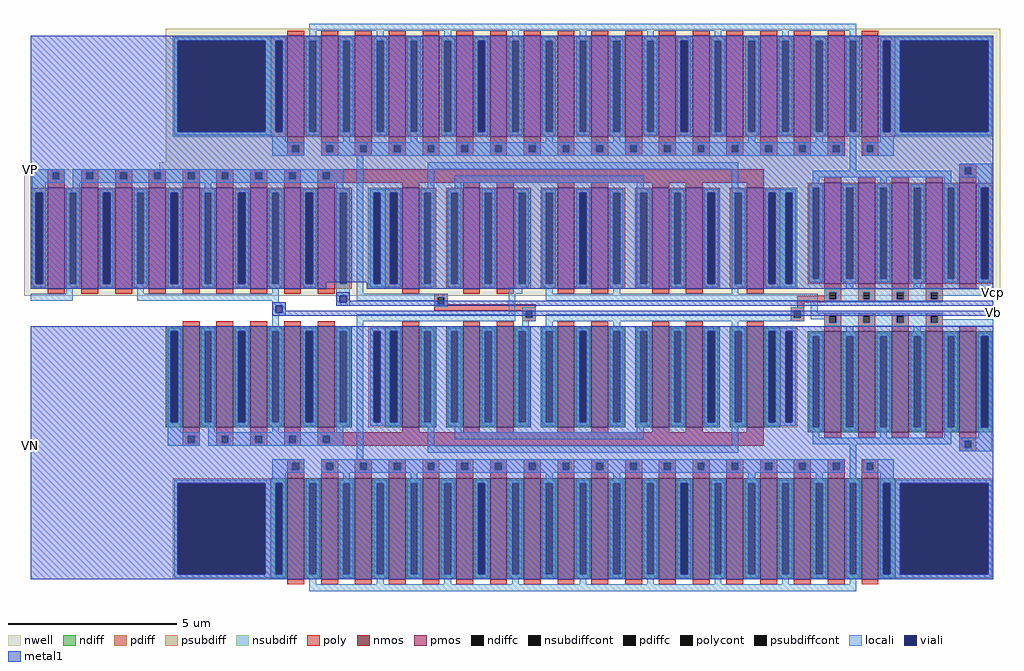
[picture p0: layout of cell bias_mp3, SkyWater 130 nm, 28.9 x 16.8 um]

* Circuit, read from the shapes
.subckt bias_mp3 Vb Vcn Vcp Vbp VP VN
XM1 Vb VN VN VN sky130_fd_pr__nfet_01v8 w=3 l=0.5
XM2 VN Vb Vb VN sky130_fd_pr__nfet_01v8 w=3 l=0.5 m=4
XM3 n1 VN VN VN sky130_fd_pr__nfet_01v8 w=3 l=0.5 m=3
XM4 n2 n2 n1 VN sky130_fd_pr__nfet_01v8 w=3 l=0.5 m=12
XM5 Vcp Vb VN VN sky130_fd_pr__nfet_01v8 w=3 l=0.5 m=4
XM6 VN n2 n1 VN sky130_fd_pr__nfet_01v8 w=3 l=0.5 m=4
XM7 n3 Vb n4 VN sky130_fd_pr__nfet_01v8 w=3 l=0.5
XM8 n5 Vb n3 VN sky130_fd_pr__nfet_01v8 w=3 l=0.5
XM9 n6 Vb n4 VN sky130_fd_pr__nfet_01v8 w=3 l=0.5
XM10 VN Vb n6 VN sky130_fd_pr__nfet_01v8 w=3 l=0.5
XM11 Vcn Vcn n1 VN sky130_fd_pr__nfet_01v8 w=3 l=0.5 m=4
XM12 Vbp VP VP VP sky130_fd_pr__pfet_01v8 w=3 l=0.5
XM13 VP Vbp Vbp VP sky130_fd_pr__pfet_01v8 w=3 l=0.5 m=4
XM14 Vb Vbp VP VP sky130_fd_pr__pfet_01v8 w=3 l=0.5 m=4
XM15 n7 VP VP VP sky130_fd_pr__pfet_01v8 w=3 l=0.5 m=3
XM16 n5 n5 n7 VP sky130_fd_pr__pfet_01v8 w=3 l=0.5 m=12
XM17 Vcn Vbp VP VP sky130_fd_pr__pfet_01v8 w=3 l=0.5 m=4
XM18 VP n5 n7 VP sky130_fd_pr__pfet_01v8 w=3 l=0.5 m=4
XM19 n8 Vbp n9 VP sky130_fd_pr__pfet_01v8 w=3 l=0.5
XM20 n2 Vbp n8 VP sky130_fd_pr__pfet_01v8 w=3 l=0.5
XM21 n10 Vbp n9 VP sky130_fd_pr__pfet_01v8 w=3 l=0.5
XM22 VP Vbp n10 VP sky130_fd_pr__pfet_01v8 w=3 l=0.5
XM23 Vcp Vcp n7 VP sky130_fd_pr__pfet_01v8 w=3 l=0.5 m=4
.ends

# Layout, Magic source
magic
tech sky130A
<< nwell >>
rect -360 1195 2110 1590
rect -380 1175 2110 1195
rect -780 800 2110 1175
<< nmos >>
rect -310 410 -260 710
rect -210 410 -160 710
rect -110 410 -60 710
rect -10 410 40 710
rect 90 410 140 710
rect 340 410 390 710
rect 520 410 570 710
rect 620 410 670 710
rect 800 410 850 710
rect 900 410 950 710
rect 1080 410 1130 710
rect 1180 410 1230 710
rect 1360 410 1410 710
rect 1590 395 1640 695
rect 1690 395 1740 695
rect 1790 395 1840 695
rect 1890 395 1940 695
rect 1990 395 2040 695
rect 0 -40 50 260
rect 100 -40 150 260
rect 200 -40 250 260
rect 300 -40 350 260
rect 400 -40 450 260
rect 500 -40 550 260
rect 600 -40 650 260
rect 700 -40 750 260
rect 800 -40 850 260
rect 900 -40 950 260
rect 1000 -40 1050 260
rect 1100 -40 1150 260
rect 1200 -40 1250 260
rect 1300 -40 1350 260
rect 1400 -40 1450 260
rect 1500 -40 1550 260
rect 1600 -40 1650 260
rect 1700 -40 1750 260
<< pmos >>
rect 0 1270 50 1570
rect 100 1270 150 1570
rect 200 1270 250 1570
rect 300 1270 350 1570
rect 400 1270 450 1570
rect 500 1270 550 1570
rect 600 1270 650 1570
rect 700 1270 750 1570
rect 800 1270 850 1570
rect 900 1270 950 1570
rect 1000 1270 1050 1570
rect 1100 1270 1150 1570
rect 1200 1270 1250 1570
rect 1300 1270 1350 1570
rect 1400 1270 1450 1570
rect 1500 1270 1550 1570
rect 1600 1270 1650 1570
rect 1700 1270 1750 1570
rect -710 820 -660 1120
rect -610 820 -560 1120
rect -510 820 -460 1120
rect -410 820 -360 1120
rect -310 820 -260 1120
rect -210 820 -160 1120
rect -110 820 -60 1120
rect -10 820 40 1120
rect 90 820 140 1120
rect 340 820 390 1120
rect 520 820 570 1120
rect 620 820 670 1120
rect 800 820 850 1120
rect 900 820 950 1120
rect 1080 820 1130 1120
rect 1180 820 1230 1120
rect 1360 820 1410 1120
rect 1590 835 1640 1135
rect 1690 835 1740 1135
rect 1790 835 1840 1135
rect 1890 835 1940 1135
rect 1990 835 2040 1135
<< ndiff >>
rect -360 695 -310 710
rect -360 425 -345 695
rect -325 425 -310 695
rect -360 410 -310 425
rect -260 695 -210 710
rect -260 425 -245 695
rect -225 425 -210 695
rect -260 410 -210 425
rect -160 695 -110 710
rect -160 425 -145 695
rect -125 425 -110 695
rect -160 410 -110 425
rect -60 695 -10 710
rect -60 425 -45 695
rect -25 425 -10 695
rect -60 410 -10 425
rect 40 695 90 710
rect 40 425 55 695
rect 75 425 90 695
rect 40 410 90 425
rect 140 695 190 710
rect 140 425 155 695
rect 175 425 190 695
rect 140 410 190 425
rect 290 695 340 710
rect 290 425 305 695
rect 325 425 340 695
rect 290 410 340 425
rect 390 695 440 710
rect 390 425 405 695
rect 425 425 440 695
rect 390 410 440 425
rect 470 695 520 710
rect 470 425 485 695
rect 505 425 520 695
rect 470 410 520 425
rect 570 695 620 710
rect 570 425 585 695
rect 605 425 620 695
rect 570 410 620 425
rect 670 695 720 710
rect 670 425 685 695
rect 705 425 720 695
rect 670 410 720 425
rect 750 695 800 710
rect 750 425 765 695
rect 785 425 800 695
rect 750 410 800 425
rect 850 695 900 710
rect 850 425 865 695
rect 885 425 900 695
rect 850 410 900 425
rect 950 695 1000 710
rect 950 425 965 695
rect 985 425 1000 695
rect 950 410 1000 425
rect 1030 695 1080 710
rect 1030 425 1045 695
rect 1065 425 1080 695
rect 1030 410 1080 425
rect 1130 695 1180 710
rect 1130 425 1145 695
rect 1165 425 1180 695
rect 1130 410 1180 425
rect 1230 695 1280 710
rect 1230 425 1245 695
rect 1265 425 1280 695
rect 1230 410 1280 425
rect 1310 695 1360 710
rect 1310 425 1325 695
rect 1345 425 1360 695
rect 1310 410 1360 425
rect 1410 695 1460 710
rect 1410 425 1425 695
rect 1445 425 1460 695
rect 1410 410 1460 425
rect 1540 680 1590 695
rect 1540 410 1555 680
rect 1575 410 1590 680
rect 1540 395 1590 410
rect 1640 680 1690 695
rect 1640 410 1655 680
rect 1675 410 1690 680
rect 1640 395 1690 410
rect 1740 680 1790 695
rect 1740 410 1755 680
rect 1775 410 1790 680
rect 1740 395 1790 410
rect 1840 680 1890 695
rect 1840 410 1855 680
rect 1875 410 1890 680
rect 1840 395 1890 410
rect 1940 680 1990 695
rect 1940 410 1955 680
rect 1975 410 1990 680
rect 1940 395 1990 410
rect 2040 680 2090 695
rect 2040 410 2055 680
rect 2075 410 2090 680
rect 2040 395 2090 410
rect -50 245 0 260
rect -50 -25 -35 245
rect -15 -25 0 245
rect -50 -40 0 -25
rect 50 245 100 260
rect 50 -25 65 245
rect 85 -25 100 245
rect 50 -40 100 -25
rect 150 245 200 260
rect 150 -25 165 245
rect 185 -25 200 245
rect 150 -40 200 -25
rect 250 245 300 260
rect 250 -25 265 245
rect 285 -25 300 245
rect 250 -40 300 -25
rect 350 245 400 260
rect 350 -25 365 245
rect 385 -25 400 245
rect 350 -40 400 -25
rect 450 245 500 260
rect 450 -25 465 245
rect 485 -25 500 245
rect 450 -40 500 -25
rect 550 245 600 260
rect 550 -25 565 245
rect 585 -25 600 245
rect 550 -40 600 -25
rect 650 245 700 260
rect 650 -25 665 245
rect 685 -25 700 245
rect 650 -40 700 -25
rect 750 245 800 260
rect 750 -25 765 245
rect 785 -25 800 245
rect 750 -40 800 -25
rect 850 245 900 260
rect 850 -25 865 245
rect 885 -25 900 245
rect 850 -40 900 -25
rect 950 245 1000 260
rect 950 -25 965 245
rect 985 -25 1000 245
rect 950 -40 1000 -25
rect 1050 245 1100 260
rect 1050 -25 1065 245
rect 1085 -25 1100 245
rect 1050 -40 1100 -25
rect 1150 245 1200 260
rect 1150 -25 1165 245
rect 1185 -25 1200 245
rect 1150 -40 1200 -25
rect 1250 245 1300 260
rect 1250 -25 1265 245
rect 1285 -25 1300 245
rect 1250 -40 1300 -25
rect 1350 245 1400 260
rect 1350 -25 1365 245
rect 1385 -25 1400 245
rect 1350 -40 1400 -25
rect 1450 245 1500 260
rect 1450 -25 1465 245
rect 1485 -25 1500 245
rect 1450 -40 1500 -25
rect 1550 245 1600 260
rect 1550 -25 1565 245
rect 1585 -25 1600 245
rect 1550 -40 1600 -25
rect 1650 245 1700 260
rect 1650 -25 1665 245
rect 1685 -25 1700 245
rect 1650 -40 1700 -25
rect 1750 245 1800 260
rect 1750 -25 1765 245
rect 1785 -25 1800 245
rect 1750 -40 1800 -25
<< pdiff >>
rect -50 1555 0 1570
rect -50 1285 -35 1555
rect -15 1285 0 1555
rect -50 1270 0 1285
rect 50 1555 100 1570
rect 50 1285 65 1555
rect 85 1285 100 1555
rect 50 1270 100 1285
rect 150 1555 200 1570
rect 150 1285 165 1555
rect 185 1285 200 1555
rect 150 1270 200 1285
rect 250 1555 300 1570
rect 250 1285 265 1555
rect 285 1285 300 1555
rect 250 1270 300 1285
rect 350 1555 400 1570
rect 350 1285 365 1555
rect 385 1285 400 1555
rect 350 1270 400 1285
rect 450 1555 500 1570
rect 450 1285 465 1555
rect 485 1285 500 1555
rect 450 1270 500 1285
rect 550 1555 600 1570
rect 550 1285 565 1555
rect 585 1285 600 1555
rect 550 1270 600 1285
rect 650 1555 700 1570
rect 650 1285 665 1555
rect 685 1285 700 1555
rect 650 1270 700 1285
rect 750 1555 800 1570
rect 750 1285 765 1555
rect 785 1285 800 1555
rect 750 1270 800 1285
rect 850 1555 900 1570
rect 850 1285 865 1555
rect 885 1285 900 1555
rect 850 1270 900 1285
rect 950 1555 1000 1570
rect 950 1285 965 1555
rect 985 1285 1000 1555
rect 950 1270 1000 1285
rect 1050 1555 1100 1570
rect 1050 1285 1065 1555
rect 1085 1285 1100 1555
rect 1050 1270 1100 1285
rect 1150 1555 1200 1570
rect 1150 1285 1165 1555
rect 1185 1285 1200 1555
rect 1150 1270 1200 1285
rect 1250 1555 1300 1570
rect 1250 1285 1265 1555
rect 1285 1285 1300 1555
rect 1250 1270 1300 1285
rect 1350 1555 1400 1570
rect 1350 1285 1365 1555
rect 1385 1285 1400 1555
rect 1350 1270 1400 1285
rect 1450 1555 1500 1570
rect 1450 1285 1465 1555
rect 1485 1285 1500 1555
rect 1450 1270 1500 1285
rect 1550 1555 1600 1570
rect 1550 1285 1565 1555
rect 1585 1285 1600 1555
rect 1550 1270 1600 1285
rect 1650 1555 1700 1570
rect 1650 1285 1665 1555
rect 1685 1285 1700 1555
rect 1650 1270 1700 1285
rect 1750 1555 1800 1570
rect 1750 1285 1765 1555
rect 1785 1285 1800 1555
rect 1750 1270 1800 1285
rect 1540 1120 1590 1135
rect -760 1105 -710 1120
rect -760 835 -745 1105
rect -725 835 -710 1105
rect -760 820 -710 835
rect -660 1105 -610 1120
rect -660 835 -645 1105
rect -625 835 -610 1105
rect -660 820 -610 835
rect -560 1105 -510 1120
rect -560 835 -545 1105
rect -525 835 -510 1105
rect -560 820 -510 835
rect -460 1105 -410 1120
rect -460 835 -445 1105
rect -425 835 -410 1105
rect -460 820 -410 835
rect -360 1105 -310 1120
rect -360 835 -345 1105
rect -325 835 -310 1105
rect -360 820 -310 835
rect -260 1105 -210 1120
rect -260 835 -245 1105
rect -225 835 -210 1105
rect -260 820 -210 835
rect -160 1105 -110 1120
rect -160 835 -145 1105
rect -125 835 -110 1105
rect -160 820 -110 835
rect -60 1105 -10 1120
rect -60 835 -45 1105
rect -25 835 -10 1105
rect -60 820 -10 835
rect 40 1105 90 1120
rect 40 835 55 1105
rect 75 835 90 1105
rect 40 820 90 835
rect 140 1105 190 1120
rect 140 835 155 1105
rect 175 835 190 1105
rect 140 820 190 835
rect 290 1105 340 1120
rect 290 835 305 1105
rect 325 835 340 1105
rect 290 820 340 835
rect 390 1105 440 1120
rect 390 835 405 1105
rect 425 835 440 1105
rect 390 820 440 835
rect 470 1105 520 1120
rect 470 835 485 1105
rect 505 835 520 1105
rect 470 820 520 835
rect 570 1105 620 1120
rect 570 835 585 1105
rect 605 835 620 1105
rect 570 820 620 835
rect 670 1105 720 1120
rect 670 835 685 1105
rect 705 835 720 1105
rect 670 820 720 835
rect 750 1105 800 1120
rect 750 835 765 1105
rect 785 835 800 1105
rect 750 820 800 835
rect 850 1105 900 1120
rect 850 835 865 1105
rect 885 835 900 1105
rect 850 820 900 835
rect 950 1105 1000 1120
rect 950 835 965 1105
rect 985 835 1000 1105
rect 950 820 1000 835
rect 1030 1105 1080 1120
rect 1030 835 1045 1105
rect 1065 835 1080 1105
rect 1030 820 1080 835
rect 1130 1105 1180 1120
rect 1130 835 1145 1105
rect 1165 835 1180 1105
rect 1130 820 1180 835
rect 1230 1105 1280 1120
rect 1230 835 1245 1105
rect 1265 835 1280 1105
rect 1230 820 1280 835
rect 1310 1105 1360 1120
rect 1310 835 1325 1105
rect 1345 835 1360 1105
rect 1310 820 1360 835
rect 1410 1105 1460 1120
rect 1410 835 1425 1105
rect 1445 835 1460 1105
rect 1540 850 1555 1120
rect 1575 850 1590 1120
rect 1540 835 1590 850
rect 1640 1120 1690 1135
rect 1640 850 1655 1120
rect 1675 850 1690 1120
rect 1640 835 1690 850
rect 1740 1120 1790 1135
rect 1740 850 1755 1120
rect 1775 850 1790 1120
rect 1740 835 1790 850
rect 1840 1120 1890 1135
rect 1840 850 1855 1120
rect 1875 850 1890 1120
rect 1840 835 1890 850
rect 1940 1120 1990 1135
rect 1940 850 1955 1120
rect 1975 850 1990 1120
rect 1940 835 1990 850
rect 2040 1120 2090 1135
rect 2040 850 2055 1120
rect 2075 850 2090 1120
rect 2040 835 2090 850
rect 1410 820 1460 835
<< ndiffc >>
rect -345 425 -325 695
rect -245 425 -225 695
rect -145 425 -125 695
rect -45 425 -25 695
rect 55 425 75 695
rect 155 425 175 695
rect 305 425 325 695
rect 405 425 425 695
rect 485 425 505 695
rect 585 425 605 695
rect 685 425 705 695
rect 765 425 785 695
rect 865 425 885 695
rect 965 425 985 695
rect 1045 425 1065 695
rect 1145 425 1165 695
rect 1245 425 1265 695
rect 1325 425 1345 695
rect 1425 425 1445 695
rect 1555 410 1575 680
rect 1655 410 1675 680
rect 1755 410 1775 680
rect 1855 410 1875 680
rect 1955 410 1975 680
rect 2055 410 2075 680
rect -35 -25 -15 245
rect 65 -25 85 245
rect 165 -25 185 245
rect 265 -25 285 245
rect 365 -25 385 245
rect 465 -25 485 245
rect 565 -25 585 245
rect 665 -25 685 245
rect 765 -25 785 245
rect 865 -25 885 245
rect 965 -25 985 245
rect 1065 -25 1085 245
rect 1165 -25 1185 245
rect 1265 -25 1285 245
rect 1365 -25 1385 245
rect 1465 -25 1485 245
rect 1565 -25 1585 245
rect 1665 -25 1685 245
rect 1765 -25 1785 245
<< pdiffc >>
rect -35 1285 -15 1555
rect 65 1285 85 1555
rect 165 1285 185 1555
rect 265 1285 285 1555
rect 365 1285 385 1555
rect 465 1285 485 1555
rect 565 1285 585 1555
rect 665 1285 685 1555
rect 765 1285 785 1555
rect 865 1285 885 1555
rect 965 1285 985 1555
rect 1065 1285 1085 1555
rect 1165 1285 1185 1555
rect 1265 1285 1285 1555
rect 1365 1285 1385 1555
rect 1465 1285 1485 1555
rect 1565 1285 1585 1555
rect 1665 1285 1685 1555
rect 1765 1285 1785 1555
rect -745 835 -725 1105
rect -645 835 -625 1105
rect -545 835 -525 1105
rect -445 835 -425 1105
rect -345 835 -325 1105
rect -245 835 -225 1105
rect -145 835 -125 1105
rect -45 835 -25 1105
rect 55 835 75 1105
rect 155 835 175 1105
rect 305 835 325 1105
rect 405 835 425 1105
rect 485 835 505 1105
rect 585 835 605 1105
rect 685 835 705 1105
rect 765 835 785 1105
rect 865 835 885 1105
rect 965 835 985 1105
rect 1045 835 1065 1105
rect 1145 835 1165 1105
rect 1245 835 1265 1105
rect 1325 835 1345 1105
rect 1425 835 1445 1105
rect 1555 850 1575 1120
rect 1655 850 1675 1120
rect 1755 850 1775 1120
rect 1855 850 1875 1120
rect 1955 850 1975 1120
rect 2055 850 2075 1120
<< psubdiff >>
rect 240 695 290 710
rect 240 425 255 695
rect 275 425 290 695
rect 240 410 290 425
rect 1460 695 1510 710
rect 1460 425 1475 695
rect 1495 425 1510 695
rect 1460 410 1510 425
rect -340 245 -50 260
rect -340 -25 -325 245
rect -65 -25 -50 245
rect -340 -40 -50 -25
rect 1800 245 2090 260
rect 1800 -25 1815 245
rect 2075 -25 2090 245
rect 1800 -40 2090 -25
<< nsubdiff >>
rect -340 1555 -50 1570
rect -340 1285 -325 1555
rect -65 1285 -50 1555
rect -340 1270 -50 1285
rect 1800 1555 2090 1570
rect 1800 1285 1815 1555
rect 2075 1285 2090 1555
rect 1800 1270 2090 1285
rect 240 1105 290 1120
rect 240 835 255 1105
rect 275 835 290 1105
rect 240 820 290 835
rect 1460 1105 1510 1120
rect 1460 835 1475 1105
rect 1495 835 1510 1105
rect 1460 820 1510 835
<< psubdiffcont >>
rect 255 425 275 695
rect 1475 425 1495 695
rect -325 -25 -65 245
rect 1815 -25 2075 245
<< nsubdiffcont >>
rect -325 1285 -65 1555
rect 1815 1285 2075 1555
rect 255 835 275 1105
rect 1475 835 1495 1105
<< poly >>
rect 0 1570 50 1585
rect 100 1570 150 1585
rect 200 1570 250 1585
rect 300 1570 350 1585
rect 400 1570 450 1585
rect 500 1570 550 1585
rect 600 1570 650 1585
rect 700 1570 750 1585
rect 800 1570 850 1585
rect 900 1570 950 1585
rect 1000 1570 1050 1585
rect 1100 1570 1150 1585
rect 1200 1570 1250 1585
rect 1300 1570 1350 1585
rect 1400 1570 1450 1585
rect 1500 1570 1550 1585
rect 1600 1570 1650 1585
rect 1700 1570 1750 1585
rect 0 1245 50 1270
rect 0 1225 15 1245
rect 35 1225 50 1245
rect 0 1215 50 1225
rect 100 1245 150 1270
rect 100 1225 115 1245
rect 135 1225 150 1245
rect 100 1215 150 1225
rect 200 1245 250 1270
rect 200 1225 215 1245
rect 235 1225 250 1245
rect 200 1215 250 1225
rect 300 1245 350 1270
rect 300 1225 315 1245
rect 335 1225 350 1245
rect 300 1215 350 1225
rect 400 1245 450 1270
rect 400 1225 415 1245
rect 435 1225 450 1245
rect 400 1215 450 1225
rect 500 1245 550 1270
rect 500 1225 515 1245
rect 535 1225 550 1245
rect 500 1215 550 1225
rect 600 1245 650 1270
rect 600 1225 615 1245
rect 635 1225 650 1245
rect 600 1215 650 1225
rect 700 1245 750 1270
rect 700 1225 715 1245
rect 735 1225 750 1245
rect 700 1215 750 1225
rect 800 1245 850 1270
rect 800 1225 815 1245
rect 835 1225 850 1245
rect 800 1215 850 1225
rect 900 1245 950 1270
rect 900 1225 915 1245
rect 935 1225 950 1245
rect 900 1215 950 1225
rect 1000 1245 1050 1270
rect 1000 1225 1015 1245
rect 1035 1225 1050 1245
rect 1000 1215 1050 1225
rect 1100 1245 1150 1270
rect 1100 1225 1115 1245
rect 1135 1225 1150 1245
rect 1100 1215 1150 1225
rect 1200 1245 1250 1270
rect 1200 1225 1215 1245
rect 1235 1225 1250 1245
rect 1200 1215 1250 1225
rect 1300 1245 1350 1270
rect 1300 1225 1315 1245
rect 1335 1225 1350 1245
rect 1300 1215 1350 1225
rect 1400 1245 1450 1270
rect 1400 1225 1415 1245
rect 1435 1225 1450 1245
rect 1400 1215 1450 1225
rect 1500 1245 1550 1270
rect 1500 1225 1515 1245
rect 1535 1225 1550 1245
rect 1500 1215 1550 1225
rect 1600 1245 1650 1270
rect 1600 1225 1615 1245
rect 1635 1225 1650 1245
rect 1600 1215 1650 1225
rect 1700 1245 1750 1270
rect 1700 1225 1715 1245
rect 1735 1225 1750 1245
rect 1700 1215 1750 1225
rect 1990 1180 2040 1190
rect -710 1165 -660 1175
rect -710 1145 -695 1165
rect -675 1145 -660 1165
rect -710 1120 -660 1145
rect -610 1165 -560 1175
rect -610 1145 -595 1165
rect -575 1145 -560 1165
rect -610 1120 -560 1145
rect -510 1165 -460 1175
rect -510 1145 -495 1165
rect -475 1145 -460 1165
rect -510 1120 -460 1145
rect -410 1165 -360 1175
rect -410 1145 -395 1165
rect -375 1145 -360 1165
rect -410 1120 -360 1145
rect -310 1165 -260 1175
rect -310 1145 -295 1165
rect -275 1145 -260 1165
rect -310 1120 -260 1145
rect -210 1165 -160 1175
rect -210 1145 -195 1165
rect -175 1145 -160 1165
rect -210 1120 -160 1145
rect -110 1165 -60 1175
rect -110 1145 -95 1165
rect -75 1145 -60 1165
rect -110 1120 -60 1145
rect -10 1165 40 1175
rect -10 1145 5 1165
rect 25 1145 40 1165
rect -10 1120 40 1145
rect 90 1165 1410 1175
rect 90 1145 105 1165
rect 125 1145 1410 1165
rect 1990 1160 2005 1180
rect 2025 1160 2040 1180
rect 90 1135 1410 1145
rect 1590 1135 1640 1150
rect 1690 1135 1740 1150
rect 1790 1135 1840 1150
rect 1890 1135 1940 1150
rect 1990 1135 2040 1160
rect 90 1120 140 1135
rect 340 1120 390 1135
rect 520 1120 570 1135
rect 620 1120 670 1135
rect 800 1120 850 1135
rect 900 1120 950 1135
rect 1080 1120 1130 1135
rect 1180 1120 1230 1135
rect 1360 1120 1410 1135
rect -710 805 -660 820
rect -610 805 -560 820
rect -510 805 -460 820
rect -410 805 -360 820
rect -310 805 -260 820
rect -210 805 -160 820
rect -110 805 -60 820
rect -10 805 40 820
rect 90 805 140 820
rect 340 805 390 820
rect 520 805 570 820
rect 620 805 670 820
rect 800 805 850 820
rect 900 805 950 820
rect 1080 805 1130 820
rect 1180 805 1230 820
rect 1360 805 1410 820
rect 1590 810 1640 835
rect 435 795 475 805
rect 1590 800 1605 810
rect 435 775 445 795
rect 465 775 475 795
rect 1510 790 1605 800
rect 1625 790 1640 810
rect 1510 780 1640 790
rect 1690 810 1740 835
rect 1690 790 1705 810
rect 1725 790 1740 810
rect 1690 780 1740 790
rect 1790 810 1840 835
rect 1790 790 1805 810
rect 1825 790 1840 810
rect 1790 780 1840 790
rect 1890 810 1940 835
rect 1990 820 2040 835
rect 1890 790 1905 810
rect 1925 790 1940 810
rect 1890 780 1940 790
rect 435 755 735 775
rect 1510 765 1530 780
rect 695 735 705 755
rect 725 735 735 755
rect 695 725 735 735
rect 1490 755 1530 765
rect 1490 735 1500 755
rect 1520 735 1530 755
rect 1490 725 1530 735
rect 1590 740 1640 750
rect -310 710 -260 725
rect -210 710 -160 725
rect -110 710 -60 725
rect -10 710 40 725
rect 90 710 140 725
rect 340 710 390 725
rect 520 710 570 725
rect 620 710 670 725
rect 800 710 850 725
rect 900 710 950 725
rect 1080 710 1130 725
rect 1180 710 1230 725
rect 1360 710 1410 725
rect 1590 720 1605 740
rect 1625 720 1640 740
rect 1590 695 1640 720
rect 1690 740 1740 750
rect 1690 720 1705 740
rect 1725 720 1740 740
rect 1690 695 1740 720
rect 1790 740 1840 750
rect 1790 720 1805 740
rect 1825 720 1840 740
rect 1790 695 1840 720
rect 1890 740 1940 750
rect 1890 720 1905 740
rect 1925 720 1940 740
rect 1890 695 1940 720
rect 1990 695 2040 710
rect -310 385 -260 410
rect -310 365 -295 385
rect -275 365 -260 385
rect -310 355 -260 365
rect -210 385 -160 410
rect -210 365 -195 385
rect -175 365 -160 385
rect -210 355 -160 365
rect -110 385 -60 410
rect -110 365 -95 385
rect -75 365 -60 385
rect -110 355 -60 365
rect -10 385 40 410
rect -10 365 5 385
rect 25 365 40 385
rect -10 355 40 365
rect 90 395 140 410
rect 340 395 390 410
rect 520 395 570 410
rect 620 395 670 410
rect 800 395 850 410
rect 900 395 950 410
rect 1080 395 1130 410
rect 1180 395 1230 410
rect 1360 395 1410 410
rect 90 385 1410 395
rect 90 365 105 385
rect 125 365 1410 385
rect 1590 380 1640 395
rect 1690 380 1740 395
rect 1790 380 1840 395
rect 1890 380 1940 395
rect 90 355 1410 365
rect 1990 370 2040 395
rect 1990 350 2005 370
rect 2025 350 2040 370
rect 1990 340 2040 350
rect 0 305 50 315
rect 0 285 15 305
rect 35 285 50 305
rect 0 260 50 285
rect 100 305 150 315
rect 100 285 115 305
rect 135 285 150 305
rect 100 260 150 285
rect 200 305 250 315
rect 200 285 215 305
rect 235 285 250 305
rect 200 260 250 285
rect 300 305 350 315
rect 300 285 315 305
rect 335 285 350 305
rect 300 260 350 285
rect 400 305 450 315
rect 400 285 415 305
rect 435 285 450 305
rect 400 260 450 285
rect 500 305 550 315
rect 500 285 515 305
rect 535 285 550 305
rect 500 260 550 285
rect 600 305 650 315
rect 600 285 615 305
rect 635 285 650 305
rect 600 260 650 285
rect 700 305 750 315
rect 700 285 715 305
rect 735 285 750 305
rect 700 260 750 285
rect 800 305 850 315
rect 800 285 815 305
rect 835 285 850 305
rect 800 260 850 285
rect 900 305 950 315
rect 900 285 915 305
rect 935 285 950 305
rect 900 260 950 285
rect 1000 305 1050 315
rect 1000 285 1015 305
rect 1035 285 1050 305
rect 1000 260 1050 285
rect 1100 305 1150 315
rect 1100 285 1115 305
rect 1135 285 1150 305
rect 1100 260 1150 285
rect 1200 305 1250 315
rect 1200 285 1215 305
rect 1235 285 1250 305
rect 1200 260 1250 285
rect 1300 305 1350 315
rect 1300 285 1315 305
rect 1335 285 1350 305
rect 1300 260 1350 285
rect 1400 305 1450 315
rect 1400 285 1415 305
rect 1435 285 1450 305
rect 1400 260 1450 285
rect 1500 305 1550 315
rect 1500 285 1515 305
rect 1535 285 1550 305
rect 1500 260 1550 285
rect 1600 305 1650 315
rect 1600 285 1615 305
rect 1635 285 1650 305
rect 1600 260 1650 285
rect 1700 305 1750 315
rect 1700 285 1715 305
rect 1735 285 1750 305
rect 1700 260 1750 285
rect 0 -55 50 -40
rect 100 -55 150 -40
rect 200 -55 250 -40
rect 300 -55 350 -40
rect 400 -55 450 -40
rect 500 -55 550 -40
rect 600 -55 650 -40
rect 700 -55 750 -40
rect 800 -55 850 -40
rect 900 -55 950 -40
rect 1000 -55 1050 -40
rect 1100 -55 1150 -40
rect 1200 -55 1250 -40
rect 1300 -55 1350 -40
rect 1400 -55 1450 -40
rect 1500 -55 1550 -40
rect 1600 -55 1650 -40
rect 1700 -55 1750 -40
<< polycont >>
rect 15 1225 35 1245
rect 115 1225 135 1245
rect 215 1225 235 1245
rect 315 1225 335 1245
rect 415 1225 435 1245
rect 515 1225 535 1245
rect 615 1225 635 1245
rect 715 1225 735 1245
rect 815 1225 835 1245
rect 915 1225 935 1245
rect 1015 1225 1035 1245
rect 1115 1225 1135 1245
rect 1215 1225 1235 1245
rect 1315 1225 1335 1245
rect 1415 1225 1435 1245
rect 1515 1225 1535 1245
rect 1615 1225 1635 1245
rect 1715 1225 1735 1245
rect -695 1145 -675 1165
rect -595 1145 -575 1165
rect -495 1145 -475 1165
rect -395 1145 -375 1165
rect -295 1145 -275 1165
rect -195 1145 -175 1165
rect -95 1145 -75 1165
rect 5 1145 25 1165
rect 105 1145 125 1165
rect 2005 1160 2025 1180
rect 445 775 465 795
rect 1605 790 1625 810
rect 1705 790 1725 810
rect 1805 790 1825 810
rect 1905 790 1925 810
rect 705 735 725 755
rect 1500 735 1520 755
rect 1605 720 1625 740
rect 1705 720 1725 740
rect 1805 720 1825 740
rect 1905 720 1925 740
rect -295 365 -275 385
rect -195 365 -175 385
rect -95 365 -75 385
rect 5 365 25 385
rect 105 365 125 385
rect 2005 350 2025 370
rect 15 285 35 305
rect 115 285 135 305
rect 215 285 235 305
rect 315 285 335 305
rect 415 285 435 305
rect 515 285 535 305
rect 615 285 635 305
rect 715 285 735 305
rect 815 285 835 305
rect 915 285 935 305
rect 1015 285 1035 305
rect 1115 285 1135 305
rect 1215 285 1235 305
rect 1315 285 1335 305
rect 1415 285 1435 305
rect 1515 285 1535 305
rect 1615 285 1635 305
rect 1715 285 1735 305
<< locali >>
rect 65 1585 1685 1605
rect 65 1565 85 1585
rect 265 1565 285 1585
rect 465 1565 485 1585
rect 665 1565 685 1585
rect 865 1565 885 1585
rect 1065 1565 1085 1585
rect 1265 1565 1285 1585
rect 1465 1565 1485 1585
rect 1665 1565 1685 1585
rect -335 1555 -5 1565
rect -335 1285 -325 1555
rect -65 1285 -35 1555
rect -15 1285 -5 1555
rect -335 1275 -5 1285
rect 55 1555 95 1565
rect 55 1285 65 1555
rect 85 1285 95 1555
rect 55 1275 95 1285
rect 155 1555 195 1565
rect 155 1285 165 1555
rect 185 1285 195 1555
rect 155 1275 195 1285
rect 255 1555 295 1565
rect 255 1285 265 1555
rect 285 1285 295 1555
rect 255 1275 295 1285
rect 355 1555 395 1565
rect 355 1285 365 1555
rect 385 1285 395 1555
rect 355 1275 395 1285
rect 455 1555 495 1565
rect 455 1285 465 1555
rect 485 1285 495 1555
rect 455 1275 495 1285
rect 555 1555 595 1565
rect 555 1285 565 1555
rect 585 1285 595 1555
rect 555 1275 595 1285
rect 655 1555 695 1565
rect 655 1285 665 1555
rect 685 1285 695 1555
rect 655 1275 695 1285
rect 755 1555 795 1565
rect 755 1285 765 1555
rect 785 1285 795 1555
rect 755 1275 795 1285
rect 855 1555 895 1565
rect 855 1285 865 1555
rect 885 1285 895 1555
rect 855 1275 895 1285
rect 955 1555 995 1565
rect 955 1285 965 1555
rect 985 1285 995 1555
rect 955 1275 995 1285
rect 1055 1555 1095 1565
rect 1055 1285 1065 1555
rect 1085 1285 1095 1555
rect 1055 1275 1095 1285
rect 1155 1555 1195 1565
rect 1155 1285 1165 1555
rect 1185 1285 1195 1555
rect 1155 1275 1195 1285
rect 1255 1555 1295 1565
rect 1255 1285 1265 1555
rect 1285 1285 1295 1555
rect 1255 1275 1295 1285
rect 1355 1555 1395 1565
rect 1355 1285 1365 1555
rect 1385 1285 1395 1555
rect 1355 1275 1395 1285
rect 1455 1555 1495 1565
rect 1455 1285 1465 1555
rect 1485 1285 1495 1555
rect 1455 1275 1495 1285
rect 1555 1555 1595 1565
rect 1555 1285 1565 1555
rect 1585 1285 1595 1555
rect 1555 1275 1595 1285
rect 1655 1555 1695 1565
rect 1655 1285 1665 1555
rect 1685 1285 1695 1555
rect 1655 1275 1695 1285
rect 1755 1555 2085 1565
rect 1755 1285 1765 1555
rect 1785 1285 1815 1555
rect 2075 1285 2085 1555
rect 1755 1275 2085 1285
rect -45 1255 -5 1275
rect 165 1255 185 1275
rect 365 1255 385 1275
rect 765 1255 785 1275
rect 965 1255 985 1275
rect 1365 1255 1385 1275
rect 1565 1255 1585 1275
rect -45 1245 50 1255
rect -45 1225 15 1245
rect 35 1225 50 1245
rect -45 1215 50 1225
rect 100 1245 1645 1255
rect 100 1225 115 1245
rect 135 1225 215 1245
rect 235 1225 315 1245
rect 335 1225 415 1245
rect 435 1225 515 1245
rect 535 1225 615 1245
rect 635 1225 715 1245
rect 735 1225 815 1245
rect 835 1225 915 1245
rect 935 1225 1015 1245
rect 1035 1225 1115 1245
rect 1135 1225 1215 1245
rect 1235 1225 1315 1245
rect 1335 1225 1415 1245
rect 1435 1225 1515 1245
rect 1535 1225 1615 1245
rect 1635 1225 1645 1245
rect 100 1215 1645 1225
rect -755 1165 -660 1175
rect -755 1145 -695 1165
rect -675 1145 -660 1165
rect -755 1135 -660 1145
rect -635 1165 165 1175
rect -635 1145 -595 1165
rect -575 1145 -495 1165
rect -475 1145 -395 1165
rect -375 1145 -295 1165
rect -275 1145 -195 1165
rect -175 1145 -95 1165
rect -75 1145 5 1165
rect 25 1145 105 1165
rect 125 1145 165 1165
rect -635 1135 165 1145
rect -755 1105 -715 1135
rect -635 1115 -615 1135
rect -245 1115 -225 1135
rect 145 1115 165 1135
rect -755 835 -745 1105
rect -725 835 -715 1105
rect -755 825 -715 835
rect -655 1105 -615 1115
rect -655 835 -645 1105
rect -625 835 -615 1105
rect -655 825 -615 835
rect -555 1105 -515 1115
rect -555 835 -545 1105
rect -525 835 -515 1105
rect -555 825 -515 835
rect -455 1105 -415 1115
rect -455 835 -445 1105
rect -425 835 -415 1105
rect -455 825 -415 835
rect -355 1105 -315 1115
rect -355 835 -345 1105
rect -325 835 -315 1105
rect -355 825 -315 835
rect -255 1105 -215 1115
rect -255 835 -245 1105
rect -225 835 -215 1105
rect -255 825 -215 835
rect -155 1105 -115 1115
rect -155 835 -145 1105
rect -125 835 -115 1105
rect -155 825 -115 835
rect -55 1105 -15 1115
rect -55 835 -45 1105
rect -25 835 -15 1105
rect -55 825 -15 835
rect 45 1105 85 1115
rect 45 835 55 1105
rect 75 835 85 1105
rect 45 825 85 835
rect 145 1105 185 1115
rect 145 835 155 1105
rect 175 835 185 1105
rect -655 805 -635 825
rect -760 785 -635 805
rect -445 805 -425 825
rect -45 805 -25 825
rect -445 785 -25 805
rect -45 780 -25 785
rect 145 800 185 835
rect 145 780 155 800
rect 175 780 185 800
rect 205 805 225 1215
rect 415 1175 1335 1195
rect 415 1115 435 1175
rect 495 1135 1055 1155
rect 495 1115 515 1135
rect 1035 1115 1055 1135
rect 1315 1115 1335 1175
rect 1665 1170 1685 1275
rect 1755 1255 1795 1275
rect 1705 1245 1795 1255
rect 1705 1225 1715 1245
rect 1735 1225 1795 1245
rect 1705 1215 1795 1225
rect 1990 1180 2085 1190
rect 1555 1150 1965 1170
rect 1990 1160 2005 1180
rect 2025 1160 2085 1180
rect 1990 1150 2085 1160
rect 1555 1130 1575 1150
rect 1755 1130 1775 1150
rect 1945 1130 1965 1150
rect 1545 1120 1585 1130
rect 245 1105 335 1115
rect 245 835 255 1105
rect 275 835 305 1105
rect 325 835 335 1105
rect 245 825 335 835
rect 395 1105 435 1115
rect 395 835 405 1105
rect 425 835 435 1105
rect 395 825 435 835
rect 475 1105 515 1115
rect 475 835 485 1105
rect 505 835 515 1105
rect 475 825 515 835
rect 575 1105 615 1115
rect 575 835 585 1105
rect 605 835 615 1105
rect 575 825 615 835
rect 675 1105 715 1115
rect 675 835 685 1105
rect 705 835 715 1105
rect 675 825 715 835
rect 755 1105 795 1115
rect 755 835 765 1105
rect 785 835 795 1105
rect 755 825 795 835
rect 855 1105 895 1115
rect 855 835 865 1105
rect 885 835 895 1105
rect 855 825 895 835
rect 955 1105 995 1115
rect 955 835 965 1105
rect 985 835 995 1105
rect 955 825 995 835
rect 1035 1105 1075 1115
rect 1035 835 1045 1105
rect 1065 835 1075 1105
rect 1035 825 1075 835
rect 1135 1105 1175 1115
rect 1135 835 1145 1105
rect 1165 835 1175 1105
rect 1135 825 1175 835
rect 1235 1105 1275 1115
rect 1235 835 1245 1105
rect 1265 835 1275 1105
rect 1235 825 1275 835
rect 1315 1105 1355 1115
rect 1315 835 1325 1105
rect 1345 835 1355 1105
rect 1315 825 1355 835
rect 1415 1105 1505 1115
rect 1415 835 1425 1105
rect 1445 835 1475 1105
rect 1495 835 1505 1105
rect 1545 850 1555 1120
rect 1575 850 1585 1120
rect 1545 840 1585 850
rect 1645 1120 1685 1130
rect 1645 850 1655 1120
rect 1675 850 1685 1120
rect 1645 840 1685 850
rect 1745 1120 1785 1130
rect 1745 850 1755 1120
rect 1775 850 1785 1120
rect 1745 840 1785 850
rect 1845 1120 1885 1130
rect 1845 850 1855 1120
rect 1875 850 1885 1120
rect 1845 840 1885 850
rect 1945 1120 1985 1130
rect 1945 850 1955 1120
rect 1975 850 1985 1120
rect 1945 840 1985 850
rect 2045 1120 2085 1150
rect 2045 850 2055 1120
rect 2075 850 2085 1120
rect 2045 840 2085 850
rect 1415 825 1505 835
rect 655 805 695 825
rect 765 805 785 825
rect 965 805 985 825
rect 1315 805 1335 825
rect 1655 820 1675 840
rect 1855 820 1875 840
rect 1590 810 2090 820
rect 205 795 475 805
rect 205 785 445 795
rect -45 770 -5 780
rect 145 770 185 780
rect 435 775 445 785
rect 465 775 475 795
rect -45 750 -35 770
rect -15 750 -5 770
rect 435 765 475 775
rect -45 740 -5 750
rect 655 745 675 805
rect 765 785 1570 805
rect -45 705 -25 740
rect 205 725 675 745
rect 695 755 735 765
rect 695 735 705 755
rect 725 735 735 755
rect 1490 755 1530 765
rect 1490 745 1500 755
rect 695 725 735 735
rect 765 735 1500 745
rect 1520 735 1530 755
rect 765 725 1530 735
rect 1550 750 1570 785
rect 1590 790 1605 810
rect 1625 790 1705 810
rect 1725 790 1805 810
rect 1825 790 1905 810
rect 1925 800 2090 810
rect 1925 790 1940 800
rect 1590 780 1940 790
rect 1550 740 1940 750
rect 1550 730 1605 740
rect -355 695 -315 705
rect -355 425 -345 695
rect -325 425 -315 695
rect -355 395 -315 425
rect -255 695 -215 705
rect -255 425 -245 695
rect -225 425 -215 695
rect -255 415 -215 425
rect -155 695 -115 705
rect -155 425 -145 695
rect -125 425 -115 695
rect -155 415 -115 425
rect -55 695 -15 705
rect -55 425 -45 695
rect -25 425 -15 695
rect -55 415 -15 425
rect 45 695 85 705
rect 45 425 55 695
rect 75 425 85 695
rect 45 415 85 425
rect 145 695 185 705
rect 145 425 155 695
rect 175 425 185 695
rect 145 415 185 425
rect -235 395 -215 415
rect -45 395 -25 415
rect 145 395 165 415
rect -355 385 -260 395
rect -355 365 -295 385
rect -275 365 -260 385
rect -355 355 -260 365
rect -235 385 165 395
rect -235 365 -195 385
rect -175 365 -95 385
rect -75 365 5 385
rect 25 365 105 385
rect 125 365 165 385
rect -235 355 165 365
rect 205 315 225 725
rect 695 705 715 725
rect 765 705 785 725
rect 965 705 985 725
rect 1315 705 1335 725
rect 1590 720 1605 730
rect 1625 720 1705 740
rect 1725 720 1805 740
rect 1825 720 1905 740
rect 1925 730 1940 740
rect 1925 720 2090 730
rect 1590 710 2090 720
rect 245 695 335 705
rect 245 425 255 695
rect 275 425 305 695
rect 325 425 335 695
rect 245 415 335 425
rect 395 695 435 705
rect 395 425 405 695
rect 425 425 435 695
rect 395 415 435 425
rect 475 695 515 705
rect 475 425 485 695
rect 505 425 515 695
rect 475 415 515 425
rect 575 695 615 705
rect 575 425 585 695
rect 605 425 615 695
rect 575 415 615 425
rect 675 695 715 705
rect 675 425 685 695
rect 705 425 715 695
rect 675 415 715 425
rect 755 695 795 705
rect 755 425 765 695
rect 785 425 795 695
rect 755 415 795 425
rect 855 695 895 705
rect 855 425 865 695
rect 885 425 895 695
rect 855 415 895 425
rect 955 695 995 705
rect 955 425 965 695
rect 985 425 995 695
rect 955 415 995 425
rect 1035 695 1075 705
rect 1035 425 1045 695
rect 1065 425 1075 695
rect 1035 415 1075 425
rect 1135 695 1175 705
rect 1135 425 1145 695
rect 1165 425 1175 695
rect 1135 415 1175 425
rect 1235 695 1275 705
rect 1235 425 1245 695
rect 1265 425 1275 695
rect 1235 415 1275 425
rect 1315 695 1355 705
rect 1315 425 1325 695
rect 1345 425 1355 695
rect 1315 415 1355 425
rect 1415 695 1505 705
rect 1415 425 1425 695
rect 1445 425 1475 695
rect 1495 425 1505 695
rect 1655 690 1675 710
rect 1855 690 1875 710
rect 1415 415 1505 425
rect 1545 680 1585 690
rect 415 355 435 415
rect 495 395 515 415
rect 1035 395 1055 415
rect 495 375 1055 395
rect 1315 355 1335 415
rect 1545 410 1555 680
rect 1575 410 1585 680
rect 1545 400 1585 410
rect 1645 680 1685 690
rect 1645 410 1655 680
rect 1675 410 1685 680
rect 1645 400 1685 410
rect 1745 680 1785 690
rect 1745 410 1755 680
rect 1775 410 1785 680
rect 1745 400 1785 410
rect 1845 680 1885 690
rect 1845 410 1855 680
rect 1875 410 1885 680
rect 1845 400 1885 410
rect 1945 680 1985 690
rect 1945 410 1955 680
rect 1975 410 1985 680
rect 1945 400 1985 410
rect 2045 680 2085 690
rect 2045 410 2055 680
rect 2075 410 2085 680
rect 1555 380 1575 400
rect 1755 380 1775 400
rect 1945 380 1965 400
rect 2045 380 2085 410
rect 1555 360 1965 380
rect 1990 370 2085 380
rect 415 335 1335 355
rect -45 305 50 315
rect -45 285 15 305
rect 35 285 50 305
rect -45 275 50 285
rect 100 305 1645 315
rect 100 285 115 305
rect 135 285 215 305
rect 235 285 315 305
rect 335 285 415 305
rect 435 285 515 305
rect 535 285 615 305
rect 635 285 715 305
rect 735 285 815 305
rect 835 285 915 305
rect 935 285 1015 305
rect 1035 285 1115 305
rect 1135 285 1215 305
rect 1235 285 1315 305
rect 1335 285 1415 305
rect 1435 285 1515 305
rect 1535 285 1615 305
rect 1635 285 1645 305
rect 100 275 1645 285
rect -45 255 -5 275
rect 165 255 185 275
rect 365 255 385 275
rect 765 255 785 275
rect 965 255 985 275
rect 1365 255 1385 275
rect 1565 255 1585 275
rect 1665 255 1685 360
rect 1990 350 2005 370
rect 2025 350 2085 370
rect 1990 340 2085 350
rect 1705 305 1795 315
rect 1705 285 1715 305
rect 1735 285 1795 305
rect 1705 275 1795 285
rect 1755 255 1795 275
rect -335 245 -5 255
rect -335 -25 -325 245
rect -65 -25 -35 245
rect -15 -25 -5 245
rect -335 -35 -5 -25
rect 55 245 95 255
rect 55 -25 65 245
rect 85 -25 95 245
rect 55 -35 95 -25
rect 155 245 195 255
rect 155 -25 165 245
rect 185 -25 195 245
rect 155 -35 195 -25
rect 255 245 295 255
rect 255 -25 265 245
rect 285 -25 295 245
rect 255 -35 295 -25
rect 355 245 395 255
rect 355 -25 365 245
rect 385 -25 395 245
rect 355 -35 395 -25
rect 455 245 495 255
rect 455 -25 465 245
rect 485 -25 495 245
rect 455 -35 495 -25
rect 555 245 595 255
rect 555 -25 565 245
rect 585 -25 595 245
rect 555 -35 595 -25
rect 655 245 695 255
rect 655 -25 665 245
rect 685 -25 695 245
rect 655 -35 695 -25
rect 755 245 795 255
rect 755 -25 765 245
rect 785 -25 795 245
rect 755 -35 795 -25
rect 855 245 895 255
rect 855 -25 865 245
rect 885 -25 895 245
rect 855 -35 895 -25
rect 955 245 995 255
rect 955 -25 965 245
rect 985 -25 995 245
rect 955 -35 995 -25
rect 1055 245 1095 255
rect 1055 -25 1065 245
rect 1085 -25 1095 245
rect 1055 -35 1095 -25
rect 1155 245 1195 255
rect 1155 -25 1165 245
rect 1185 -25 1195 245
rect 1155 -35 1195 -25
rect 1255 245 1295 255
rect 1255 -25 1265 245
rect 1285 -25 1295 245
rect 1255 -35 1295 -25
rect 1355 245 1395 255
rect 1355 -25 1365 245
rect 1385 -25 1395 245
rect 1355 -35 1395 -25
rect 1455 245 1495 255
rect 1455 -25 1465 245
rect 1485 -25 1495 245
rect 1455 -35 1495 -25
rect 1555 245 1595 255
rect 1555 -25 1565 245
rect 1585 -25 1595 245
rect 1555 -35 1595 -25
rect 1655 245 1695 255
rect 1655 -25 1665 245
rect 1685 -25 1695 245
rect 1655 -35 1695 -25
rect 1755 245 2085 255
rect 1755 -25 1765 245
rect 1785 -25 1815 245
rect 2075 -25 2085 245
rect 1755 -35 2085 -25
rect 65 -55 85 -35
rect 265 -55 285 -35
rect 465 -55 485 -35
rect 665 -55 685 -35
rect 865 -55 885 -35
rect 1065 -55 1085 -35
rect 1265 -55 1285 -35
rect 1465 -55 1485 -35
rect 1665 -55 1685 -35
rect 65 -75 1685 -55
<< viali >>
rect -325 1285 -65 1555
rect -35 1285 -15 1555
rect 565 1285 585 1555
rect 1165 1285 1185 1555
rect 1765 1285 1785 1555
rect 1815 1285 2075 1555
rect -745 835 -725 1105
rect -545 835 -525 1105
rect -345 835 -325 1105
rect -145 835 -125 1105
rect 55 835 75 1105
rect 155 780 175 800
rect 255 835 275 1105
rect 305 835 325 1105
rect 865 835 885 1105
rect 1245 835 1265 1105
rect 1425 835 1445 1105
rect 1475 835 1495 1105
rect 2055 850 2075 1120
rect -35 750 -15 770
rect -345 425 -325 695
rect -145 425 -125 695
rect 55 425 75 695
rect 255 425 275 695
rect 305 425 325 695
rect 865 425 885 695
rect 1245 425 1265 695
rect 1425 425 1445 695
rect 1475 425 1495 695
rect 2055 410 2075 680
rect -325 -25 -65 245
rect -35 -25 -15 245
rect 565 -25 585 245
rect 1165 -25 1185 245
rect 1765 -25 1785 245
rect 1815 -25 2075 245
<< metal1 >>
rect -760 1555 2090 1570
rect -760 1285 -325 1555
rect -65 1285 -35 1555
rect -15 1285 565 1555
rect 585 1285 1165 1555
rect 1185 1285 1765 1555
rect 1785 1285 1815 1555
rect 2075 1285 2090 1555
rect -760 1120 2090 1285
rect -760 1105 2055 1120
rect -760 835 -745 1105
rect -725 835 -545 1105
rect -525 835 -345 1105
rect -325 835 -145 1105
rect -125 835 55 1105
rect 75 840 255 1105
rect 75 835 115 840
rect -760 820 115 835
rect 235 835 255 840
rect 275 835 305 1105
rect 325 835 865 1105
rect 885 835 1245 1105
rect 1265 835 1425 1105
rect 1445 835 1475 1105
rect 1495 850 2055 1105
rect 2075 850 2090 1120
rect 1495 835 2090 850
rect 235 820 2090 835
rect 145 800 185 810
rect 145 780 155 800
rect 175 785 185 800
rect 175 780 2090 785
rect -45 770 -5 780
rect 145 770 2090 780
rect -45 750 -35 770
rect -15 755 -5 770
rect -15 750 2090 755
rect -45 740 2090 750
rect -760 695 2090 710
rect -760 425 -345 695
rect -325 425 -145 695
rect -125 425 55 695
rect 75 425 255 695
rect 275 425 305 695
rect 325 425 865 695
rect 885 425 1245 695
rect 1265 425 1425 695
rect 1445 425 1475 695
rect 1495 680 2090 695
rect 1495 425 2055 680
rect -760 410 2055 425
rect 2075 410 2090 680
rect -760 245 2090 410
rect -760 -25 -325 245
rect -65 -25 -35 245
rect -15 -25 565 245
rect 585 -25 1165 245
rect 1185 -25 1765 245
rect 1785 -25 1815 245
rect 2075 -25 2090 245
rect -760 -40 2090 -25
<< labels >>
flabel metal1 2090 750 2090 750 3 FreeSans 160 0 0 0 Vb
port 1 e
flabel locali 2090 720 2090 720 3 FreeSans 160 0 0 0 Vcn
port 2 e
flabel locali 2090 810 2090 810 3 FreeSans 160 0 0 0 Vcp
port 3 e
flabel metal1 2090 775 2090 775 3 FreeSans 160 0 0 0 Vbp
port 4 e
flabel metal1 -760 355 -760 355 7 FreeSans 160 0 0 0 VN
port 6 w
flabel metal1 -760 1175 -760 1175 7 FreeSans 160 0 0 0 VP
port 5 w
<< end >>
